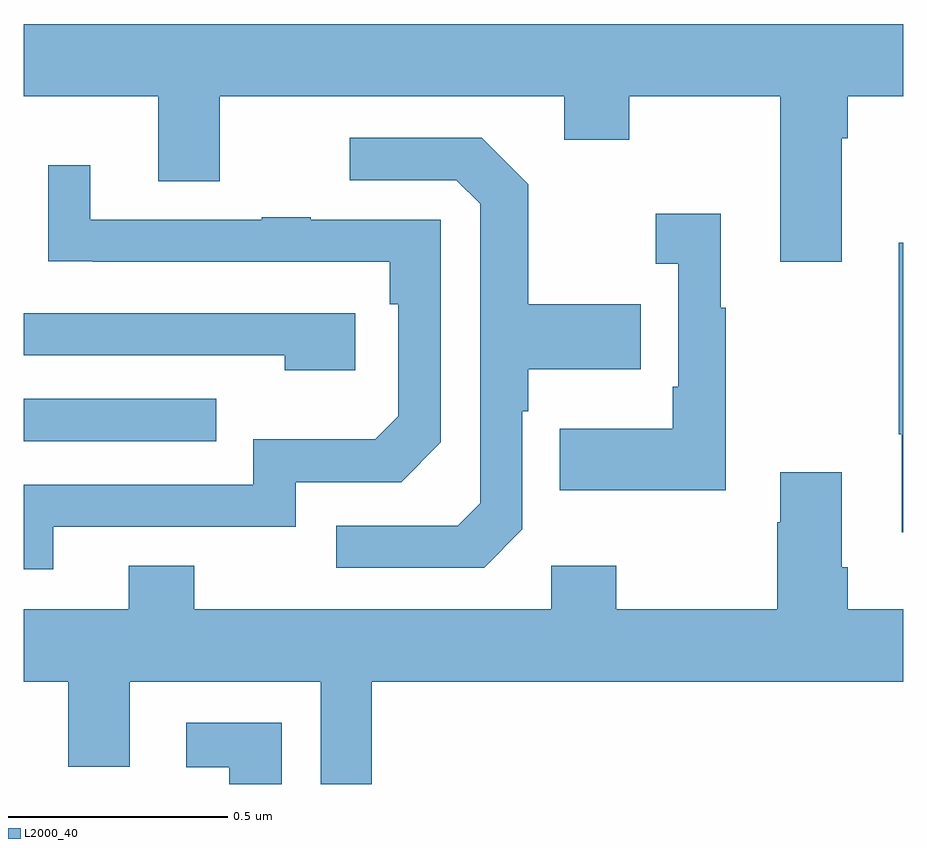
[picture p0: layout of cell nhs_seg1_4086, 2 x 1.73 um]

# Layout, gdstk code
import gdstk
lib = gdstk.Library(unit=1e-6, precision=1e-09)
def R(c, l, rs):  # rectangles x0, y0, x1, y1
    for r in rs: c.add(gdstk.rectangle(r[:2], r[2:], *l))
def P(c, l, *ps):  # polygons
    for p in ps: c.add(gdstk.Polygon(p, *l))
L2000_40 = (2000, 40)

nhs_seg1_4086 = lib.new_cell('nhs_seg1_4086')
R(nhs_seg1_4086, L2000_40, [(162,518.979,162.437,519.075)])
P(nhs_seg1_4086, L2000_40, [(162,519.764),(162.305,519.764),(162.305,519.57),(162.445,519.57),(162.445,519.764),(163.229,519.764),(163.229,519.665),(163.377,519.665),(163.377,519.764),(163.721,519.764),(163.721,519.387),(163.861,519.387),(163.861,519.668),(163.874,519.668),(163.874,519.764),(164,519.764),(164,519.928),(162,519.928)],
  [(163.134,518.778),(163.134,519.047),(163.147,519.047),(163.147,519.143),(163.403,519.143),(163.403,519.291),(163.147,519.291),(163.147,519.563),(163.041,519.669),(162.741,519.669),(162.741,519.573),(162.984,519.573),(163.038,519.519),(163.038,518.838),(162.987,518.787),(162.711,518.787),(162.711,518.691),(163.047,518.691)],
  [(162.067,518.784),(162.618,518.784),(162.618,518.886),(162.858,518.886),(162.948,518.976),(162.948,519.483),(162.653,519.483),(162.653,519.488),(162.541,519.488),(162.541,519.483),(162.151,519.483),(162.151,519.607),(162.055,519.607),(162.055,519.388),(162.157,519.388),(162.157,519.387),(162.832,519.387),(162.832,519.29),(162.852,519.29),(162.852,519.036),(162.799,518.983),(162.522,518.983),(162.522,518.88),(162,518.88),(162,518.688),(162.067,518.688)],
  [(163.597,519.283),(163.585,519.283),(163.585,519.496),(163.437,519.496),(163.437,519.383),(163.488,519.383),(163.488,519.103),(163.476,519.103),(163.476,519.007),(163.219,519.007),(163.219,518.867),(163.597,518.867)],
  [(164,519.43),(163.99,519.43),(163.99,518.995),(163.997,518.995),(163.997,518.772),(164,518.772)],
  [(162.754,519.27),(162,519.27),(162,519.174),(162.593,519.174),(162.593,519.14),(162.754,519.14)],
  [(162.791,518.432),(164,518.432),(164,518.596),(163.874,518.596),(163.874,518.692),(163.861,518.692),(163.861,518.908),(163.721,518.908),(163.721,518.795),(163.714,518.795),(163.714,518.596),(163.347,518.596),(163.347,518.695),(163.2,518.695),(163.2,518.596),(162.387,518.596),(162.387,518.695),(162.239,518.695),(162.239,518.596),(162,518.596),(162,518.432),(162.101,518.432),(162.101,518.238),(162.241,518.238),(162.241,518.432),(162.675,518.432),(162.675,518.199),(162.791,518.199)],
  [(162.586,518.338),(162.369,518.338),(162.369,518.237),(162.467,518.237),(162.467,518.199),(162.586,518.199)])

lib.write_gds('nhs_seg1_4086.gds')
